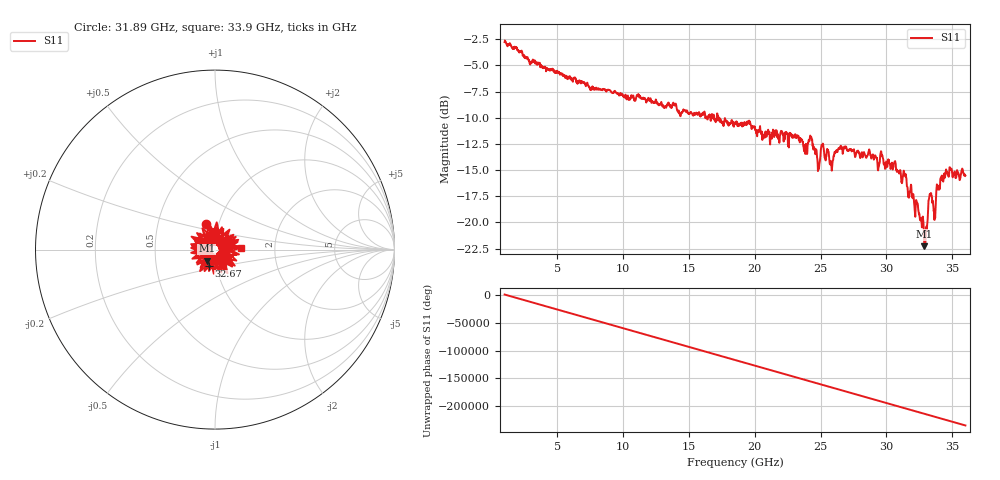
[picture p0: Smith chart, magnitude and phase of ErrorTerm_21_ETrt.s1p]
!  1-Port S-parameters saved by WinCal
! VAR NAME=Unknown labuser
! VAR Error Term Name=ETrt phys rcv port 2 phys src port 1
# Hz S RI R 50
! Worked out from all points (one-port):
!   1601 points, 1 GHz to 36 GHz, reference 50 ohm
!   lowest |S11| = -22.3 dB at 32.89 GHz (marker M1), VSWR 1.17, Z = 45.3 - j5.66 ohm
!   |S11| at or under -10 dB: 16.36925 GHz to 16.4357 GHz (66.45 MHz wide, 0.405 % of centre); 16.92 GHz to 17.11 GHz (194.3 MHz wide, 1.14 % of centre); 17.28 GHz to end of sweep (the widest 3 of 7)
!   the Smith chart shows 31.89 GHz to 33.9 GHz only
!   S11 on the Smith chart (normalised r, x): 31.89 GHz: 0.87, +0.25; 32.67 GHz: 0.92, -0.17; 33.9 GHz: 1.34, +0.02
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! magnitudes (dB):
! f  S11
! 1 GHz  -2.8
! 2.947 GHz  -4.9
! 5.375 GHz  -5.9
! 9.75 GHz  -7.9
! 14.12 GHz  -9.3
! 18.5 GHz  -10.5
! 19.55 GHz  -10.5
! 20.75 GHz  -11.9
! 22.88 GHz  -11.6
! 23.86 GHz  -12.9
! 24.25 GHz  -11.9
! 24.82 GHz  -14.7
! 25.17 GHz  -12.5
! 25.83 GHz  -14.7
! 26.38 GHz  -12.9
! 27.25 GHz  -13.1
! 30.57 GHz  -14.4
! 31.41 GHz  -15.5
! 31.62 GHz  -17.0
! 31.89 GHz  -16.5
! 32.67 GHz  -20.1
! 32.89 GHz  -22.3
! 33.02 GHz  -20.4
! 33.33 GHz  -17.3
! 33.62 GHz  -18.8
! 33.9 GHz  -16.7
! 34.69 GHz  -15.5
! 36 GHz  -15.5
